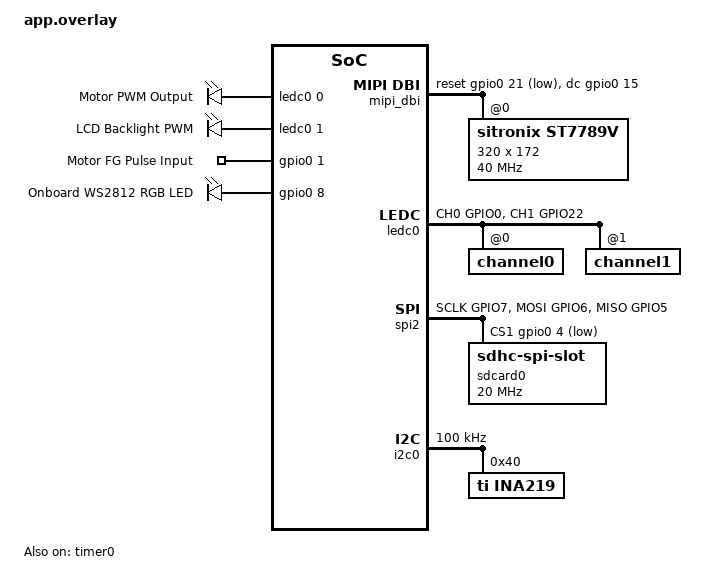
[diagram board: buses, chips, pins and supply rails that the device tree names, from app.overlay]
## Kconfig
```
# Copyright (c) 2026
# SPDX-License-Identifier: Apache-2.0

mainmenu "Waveshare ESP32-C6-LCD-1.47 Application"

menu "Application Wi-Fi Configuration"

config APP_WIFI_SSID
	string "Wi-Fi SSID"
	help
	  SSID of the Wi-Fi network to connect to.

config APP_WIFI_PSK
	string "Wi-Fi Password (PSK)"
	help
	  WPA2/WPA3 pre-shared key (password) of the Wi-Fi network.

config APP_WIFI_CHANNEL
	int "Target Wi-Fi Channel (0 for Auto/Scan)"
	default 0
	range 0 14
	help
	  Target 2.4 GHz Wi-Fi channel (1-14) to connect immediately without
	  scanning all channels. Set to 0 to scan all channels.

config APP_STATIC_IP
	string "Static IPv4 Address (Optional)"
	default ""
	help
	  Optional static IPv4 address (e.g. "192.168.1.250").
	  If empty, DHCPv4 is used automatically.

config APP_STATIC_NETMASK
	string "Static IPv4 Netmask"
	default "255.255.255.0"
	help
	  Subnet mask for static IPv4 configuration.

config APP_STATIC_GW
	string "Static IPv4 Gateway"
	default ""
	help
	  Default gateway IPv4 address (e.g. "192.168.1.1").

endmenu

menu "Sensor and Sampling Configuration"

config APP_SAMPLE_RATE_HZ
	int "Sensor Sampling Rate (Hz)"
	default 10
	range 1 10
	help
	  Target sampling and update frequency for sensor acquisition,
	  SD card logging, and SSE streaming (1 to 10 Hz).

config APP_MOTOR_PULSES_PER_REV
	int "Motor FG Pulses Per Revolution"
	default 6
	help
	  Number of FG pulses generated per complete motor shaft revolution.

config APP_MAX_FG_RPM
	int "Max Motor FG RPM (100% Gauge Scale)"
	default 5500
	help
	  Maximum RPM representing 100% on the LCD display bar and web chart.

config APP_MOTOR_KICK_RESET_MS
	int "Pre-kick 0% PWM reset delay (ms)"
	default 200
	range 0 10000
	help
	  Duration in milliseconds to hold 0% PWM before applying a spin-up or
	  stall-recovery kick, allowing the motor ESC to clear any locked-rotor
	  stall protection latch. Set to 0 to disable the 0% reset delay.

config APP_MOTOR_KICK_PWM_PCT
	int "Spin-up / stall recovery kick PWM (%)"
	default 10
	range 0 100
	help
	  Minimum PWM duty cycle percentage applied during spin-up and
	  stall-recovery kicks until the motor spins.

config APP_DEFAULT_P_HIGH_PCT
	int "Default High Stage Max PWM (%)"
	default 80
	range 0 100
	help
	  Default maximum PWM percentage for the high stage (75-85% recommended).

config APP_CAL_WARMUP_MS
	int "Air Calibration Wait Time Before Recording (ms)"
	default 6500
	range 0 30000
	help
	  Time in milliseconds to wait at each PWM step during air calibration
	  before starting to average RPM and power draw.

config APP_CAL_SETTLE_MS
	int "Air Calibration Settle Time per Step (ms)"
	default 3500
	range 500 30000
	help
	  Time in milliseconds to wait at each PWM step during air calibration
	  before recording RPM and power draw.

config APP_OP_SETTLE_MS
	int "Closed-Loop Operation Settle Time (ms)"
	default 3500
	range 200 30000
	help
	  Time in milliseconds to wait after a PWM change or stage start before
	  evaluating closed-loop RPM/power comparisons.

endmenu

source "Kconfig.zephyr"
```

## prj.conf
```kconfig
# Console & Serial configuration
CONFIG_CONSOLE=y
CONFIG_SERIAL=y
CONFIG_UART_CONSOLE=y
CONFIG_GPIO=y

# Enable floating point format support in printf / snprintf
CONFIG_CBPRINTF_FP_SUPPORT=y

# Networking & Wi-Fi
CONFIG_NETWORKING=y
CONFIG_NET_IPV4=y
CONFIG_NET_IPV6=n
CONFIG_NET_TCP=y
CONFIG_NET_DHCPV4=y
CONFIG_NET_DHCPV4_OPTION_NTP_SERVER=n
CONFIG_WIFI=y
CONFIG_WIFI_ESP32=y
CONFIG_WIFI_STA_AUTO_DHCPV4=n
CONFIG_ESP32_WIFI_STA_POWER_SAVE_NONE=y
CONFIG_NET_MGMT_EVENT_QUEUE_SIZE=16
CONFIG_NET_MGMT_EVENT_QUEUE_TIMEOUT=5000

# BSD / POSIX Sockets for HTTP & SSE Server
CONFIG_NET_SOCKETS=y
CONFIG_NET_MAX_CONN=8
CONFIG_NET_TCP_TIME_WAIT_DELAY=250
CONFIG_ZVFS_POLL_MAX=8
CONFIG_ZVFS_OPEN_MAX=16

# DNS & NTP / SNTP Time Client
CONFIG_DNS_RESOLVER=y
CONFIG_SNTP=y

# SD Card (SPI SDHC) & FatFS File System
CONFIG_DISK_ACCESS=y
CONFIG_DISK_DRIVER_SDMMC=y
CONFIG_FILE_SYSTEM=y
CONFIG_FILE_SYSTEM_MKFS=y
CONFIG_FAT_FILESYSTEM_ELM=y
CONFIG_FS_FATFS_MOUNT_MKFS=y
CONFIG_FS_FATFS_LFN=y
CONFIG_FS_FATFS_LFN_MODE_STACK=y
CONFIG_FS_FATFS_MAX_LFN=64
CONFIG_FS_FATFS_MAX_SS=512
CONFIG_FS_FATFS_REENTRANT=y
CONFIG_FS_FATFS_NUM_FILES=6
CONFIG_FS_FATFS_NUM_DIRS=3

# Hardware Peripherals: PWM, Counter, I2C, INA219
CONFIG_PWM=y
CONFIG_COUNTER=y
CONFIG_I2C=y
CONFIG_SENSOR=y
CONFIG_INA219=y

# Display & SPI for 1.47" ST7789 LCD (172x320)
CONFIG_SPI=y
CONFIG_DISPLAY=y
CONFIG_ST7789V=y
CONFIG_MIPI_DBI=y
CONFIG_MIPI_DBI_SPI=y

# Memory Management & Stacks
CONFIG_HEAP_MEM_POOL_SIZE=98304
CONFIG_NET_PKT_RX_COUNT=20
CONFIG_NET_PKT_TX_COUNT=24
CONFIG_NET_BUF_RX_COUNT=48
CONFIG_NET_BUF_TX_COUNT=64
CONFIG_NET_TX_STACK_SIZE=4096
CONFIG_NET_RX_STACK_SIZE=4096
CONFIG_MAIN_STACK_SIZE=4096

# Sampling & Acquisition
CONFIG_APP_SAMPLE_RATE_HZ=10

# System Reset & Panic Auto-Reboot
CONFIG_REBOOT=y
CONFIG_RESET_ON_FATAL_ERROR=y
```

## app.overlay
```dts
#include <zephyr/dt-bindings/pwm/pwm.h>
#include <zephyr/dt-bindings/pinctrl/esp32c6-pinctrl.h>
#include <zephyr/dt-bindings/i2c/i2c.h>
#include <zephyr/dt-bindings/display/panel.h>
#include <zephyr/dt-bindings/mipi_dbi/mipi_dbi.h>

/ {
	aliases {
		app-timer = &counter0;
		motor-pwm = &pwm_motor;
		fg-pin = &fg_sensor;
		lcd-bl = &lcd_backlight;
		lcd-bl-pwm = &pwm_lcd_bl;
		rgb-led = &rgb_led;
	};

	chosen {
		zephyr,display = &st7789v;
	};

	motor_pwm {
		compatible = "pwm-leds";
		pwm_motor: pwm_motor_0 {
			pwms = <&ledc0 0 PWM_USEC(40) PWM_POLARITY_INVERTED>; /* 25 kHz, Active-Low */
			label = "Motor PWM Output";
		};
		pwm_lcd_bl: pwm_lcd_bl_0 {
			pwms = <&ledc0 1 PWM_USEC(40) PWM_POLARITY_NORMAL>; /* 25 kHz, Active-High */
			label = "LCD Backlight PWM";
		};
	};

	sensor_pins {
		compatible = "gpio-keys";
		fg_sensor: fg_sensor_0 {
			gpios = <&gpio0 1 GPIO_PULL_UP>;
			label = "Motor FG Pulse Input";
		};
	};

	rgb_leds {
		compatible = "gpio-leds";
		rgb_led: rgb_led_0 {
			gpios = <&gpio0 8 GPIO_ACTIVE_HIGH>;
			label = "Onboard WS2812 RGB LED";
		};
	};

	mipi_dbi {
		compatible = "zephyr,mipi-dbi-spi";
		spi-dev = <&spi2>;
		dc-gpios = <&gpio0 15 GPIO_ACTIVE_HIGH>;
		reset-gpios = <&gpio0 21 GPIO_ACTIVE_LOW>;
		write-only;
		#address-cells = <1>;
		#size-cells = <0>;

		st7789v: st7789v@0 {
			compatible = "sitronix,st7789v";
			reg = <0>;
			mipi-max-frequency = <DT_FREQ_M(40)>;
			mipi-mode = "MIPI_DBI_MODE_SPI_4WIRE";
			width = <320>;
			height = <172>;
			x-offset = <0>;
			y-offset = <34>;
			vcom = <0x19>;
			gctrl = <0x35>;
			vrhs = <0x12>;
			vdvs = <0x20>;
			mdac = <0xa0>;
			lcm = <0x2c>;
			pixel-format = <PANEL_PIXEL_FORMAT_RGB_565>;
			gamma = <0x01>;
			porch-param = [0c 0c 00 33 33];
			cmd2en-param = [5a 69 02 01];
			pwctrl1-param = [a4 a1];
			pvgam-param = [d0 04 0d 11 13 2b 3f 54 4c 18 0d 0b 1f 23];
			nvgam-param = [d0 04 0c 11 13 2c 3f 44 51 2f 1f 1f 20 23];
			ram-param = [00 f0];
			rgb-param = [cd 08 14];
		};
	};
};

&gpio0 {
	status = "okay";
};

&timer0 {
	status = "okay";
	counter0: counter {
		status = "okay";
	};
};

&pinctrl {
	ledc0_default: ledc0_default {
		group1 {
			pinmux = <LEDC_CH0_GPIO0>;
			output-enable;
			bias-pull-up;
		};
		group2 {
			pinmux = <LEDC_CH1_GPIO22>;
			output-enable;
		};
	};

	spim2_default: spim2_default {
		group1 {
			pinmux = <SPIM2_SCLK_GPIO7>,
			         <SPIM2_MOSI_GPIO6>;
		};
		group2 {
			pinmux = <SPIM2_MISO_GPIO5>;
			bias-pull-up;
		};
	};

	i2c0_default: i2c0_default {
		group1 {
			pinmux = <I2C0_SDA_GPIO23>,
			         <I2C0_SCL_GPIO20>;
			bias-pull-up;
			drive-open-drain;
			output-high;
		};
	};
};

&ledc0 {
	pinctrl-0 = <&ledc0_default>;
	pinctrl-names = "default";
	#address-cells = <1>;
	#size-cells = <0>;
	status = "okay";

	channel0@0 {
		reg = <0x0>;
		timer = <0>;
	};

	channel1@1 {
		reg = <0x1>;
		timer = <1>;
	};
};

&spi2 {
	#address-cells = <1>;
	#size-cells = <0>;
	status = "okay";
	pinctrl-0 = <&spim2_default>;
	pinctrl-names = "default";
	cs-gpios = <&gpio0 14 GPIO_ACTIVE_LOW>,
	           <&gpio0 4 GPIO_ACTIVE_LOW>;

	sdcard0: sdhc@1 {
		compatible = "zephyr,sdhc-spi-slot";
		reg = <1>;
		status = "okay";
		spi-max-frequency = <DT_FREQ_M(20)>;

		mmc {
			compatible = "zephyr,sdmmc-disk";
			disk-name = "SD";
			status = "okay";
		};
	};
};

&i2c0 {
	status = "okay";
	clock-frequency = <I2C_BITRATE_STANDARD>;
	pinctrl-0 = <&i2c0_default>;
	pinctrl-names = "default";

	ina219: ina219@40 {
		compatible = "ti,ina219";
		reg = <0x40>;
		brng = <1>;
		pg = <3>;
		sadc = <3>;
		badc = <3>;
		shunt-milliohm = <100>;
		lsb-microamp = <100>;
		status = "okay";
	};
};
```

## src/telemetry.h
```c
#ifndef TELEMETRY_H_
#define TELEMETRY_H_

#include <stdint.h>
#include <stdbool.h>

#ifndef STRINGIFY
#define STRINGIFY_HELPER(x) #x
#define STRINGIFY(x)        STRINGIFY_HELPER(x)
#endif

/* Profile Actions */
#define PWM_ACTION_SET_CONFIG_ONLY  0
#define PWM_ACTION_START_PROFILE    1
#define PWM_ACTION_STOP_PROFILE     2
#define PWM_ACTION_MANUAL_PWM       3

/* Profile Stages */
#define PROFILE_STAGE_IDLE          0
#define PROFILE_STAGE_LOW           1
#define PROFILE_STAGE_UP            2
#define PROFILE_STAGE_HIGH          3
#define PROFILE_STAGE_DROP          4

typedef struct __attribute__((packed)) {
	uint32_t sample_id;
	uint32_t motor_rpm;
	int32_t  temp_mc;              /* milli-Celsius (e.g. 42100 = 42.1 C) */
	uint32_t bus_mv;               /* milli-Volts (e.g. 12050 = 12.05 V)  */
	int32_t  current_ma;           /* milli-Amps (signed, e.g. -85 .. 250 mA) */
	int64_t  uptime_ms;
	uint8_t  pwm_pct;              /* current duty cycle 0..100%          */
	uint8_t  profile_stage;        /* PROFILE_STAGE_*                     */
	uint16_t profile_elapsed_sec;  /* which second point is currently at  */
	uint16_t profile_total_sec;    /* total duration of 4 stages in sec   */
	uint8_t  throttle_active;      /* 0=normal, 1=throttling, 2=recovering */
	uint8_t  throttle_drop_pct;    /* active PWM reduction 0..100%        */
	uint16_t throttle_base_rpm;    /* armed baseline RPM (0=unarmed)      */
	int16_t  throttle_base_ma;     /* armed baseline mA                   */
} telemetry_packet_t;

typedef struct {
	uint32_t sample_id;
	uint32_t motor_rpm;
	int32_t  temp_mc;
	uint32_t bus_mv;
	int32_t  current_ma;
	int64_t  uptime_ms;
	uint8_t  pwm_pct;
	uint8_t  profile_stage;
	uint16_t profile_elapsed_sec;
	uint16_t profile_total_sec;
	uint8_t  throttle_active;
	uint8_t  throttle_drop_pct;
	uint16_t throttle_base_rpm;
	int16_t  throttle_base_ma;
	char     iso_time[32];
	char     date_str[16];
} telemetry_full_t;

#ifndef CONFIG_APP_MAX_FG_RPM
#define CONFIG_APP_MAX_FG_RPM 5500
#endif

#ifndef CONFIG_APP_DEFAULT_P_HIGH_PCT
#define CONFIG_APP_DEFAULT_P_HIGH_PCT 80
#endif

#define DEFAULT_PROF_T_LOW   0
#define DEFAULT_PROF_P_LOW   0
#define DEFAULT_PROF_T_UP    0
#define DEFAULT_PROF_T_HIGH  90
#define DEFAULT_PROF_P_HIGH  CONFIG_APP_DEFAULT_P_HIGH_PCT
#define DEFAULT_PROF_T_DROP  0
#define DEFAULT_PROF_TOTAL   (DEFAULT_PROF_T_LOW + DEFAULT_PROF_T_UP + DEFAULT_PROF_T_HIGH + DEFAULT_PROF_T_DROP)

#define APP_MAX_CURRENT_MA   150

typedef struct __attribute__((packed)) {
	uint16_t t_low_sec;
	uint16_t t_up_sec;
	uint16_t t_high_sec;
	uint16_t t_drop_sec;
	uint8_t  p_low_pct;
	uint8_t  p_high_pct;
	uint8_t  action;               /* PWM_ACTION_*                        */
	uint8_t  manual_pwm;           /* 0..100% when action == PWM_ACTION_MANUAL_PWM */
} pwm_profile_ctrl_t;

#define DEFAULT_THROTTLE_ENABLED        1
#define DEFAULT_THROTTLE_MAX_DROP_PCT   60
#define DEFAULT_THROTTLE_SLOPE_PCT_S    5
#define DEFAULT_THROTTLE_RPM_RISE_PCT   10
#define DEFAULT_THROTTLE_CURR_DROP_PCT  15
#define DEFAULT_THROTTLE_COOLDOWN_SEC   8

#define THROTTLE_STATE_NORMAL           0
#define THROTTLE_STATE_ACTIVE           1
#define THROTTLE_STATE_RECOVERING       2

typedef struct __attribute__((packed)) {
	uint8_t  enabled;
	uint8_t  max_drop_pct;
	uint8_t  slope_pct_per_sec;
	uint8_t  rpm_rise_pct;
	uint8_t  curr_drop_pct;
	uint8_t  cooldown_sec;
} pwm_throttle_ctrl_t;

#ifndef CONFIG_APP_CAL_WARMUP_MS
#define CONFIG_APP_CAL_WARMUP_MS 6500
#endif

#ifndef CONFIG_APP_CAL_SETTLE_MS
#define CONFIG_APP_CAL_SETTLE_MS 3500
#endif

#ifndef CONFIG_APP_OP_SETTLE_MS
#define CONFIG_APP_OP_SETTLE_MS 3500
#endif

#define AIR_CAL_MIN_PCT     10
#define AIR_CAL_STEP_PCT    5
#define AIR_CAL_POINTS      19 /* 10%, 15%, 20%, ..., 100% */
#define AIR_CAL_TOTAL_STEPS (AIR_CAL_POINTS + AIR_CAL_POINTS - 1) /* 19 up (10..100) + 18 down (95..10) = 37 steps */

typedef struct {
	uint8_t  pwm_pct;
	uint16_t rpm_up;
	uint32_t power_up;
	uint16_t rpm_down;
	uint32_t power_down;
} air_cal_point_t;

typedef struct {
	bool            valid;
	uint32_t        max_rpm_103_ceil;
	air_cal_point_t pts[AIR_CAL_POINTS];
} air_cal_data_t;

#define DEFAULT_CL_ENABLED          1
#define DEFAULT_CL_TARGET_MAX_PCT   85
#define DEFAULT_CL_LOWER_CLIP_PCT   25
#define DEFAULT_CL_START_PWM_PCT    70
#define DEFAULT_CL_CHECK_UP_SEC     2
#define DEFAULT_CL_CHECK_DOWN_SEC   2
#define DEFAULT_CL_GAIN_UP_PCT      5
#define DEFAULT_CL_GAIN_DOWN_PCT    5
#define DEFAULT_CL_UP_THRESH_PCT    50
#define DEFAULT_CL_DN_THRESH_PCT    25
#define DEFAULT_CL_CAL_RPM_SHIFT    0
#define DEFAULT_CL_CAL_PWR_SHIFT    0
#define DEFAULT_CL_RPM_DROP_PCT     3

typedef struct {
	uint8_t  enabled;          /* 1=closed-loop in HIGH stage, 0=fixed p_high_pct */
	uint8_t  target_max_pct;   /* target max speed as % of max RPM (default 85%) */
	uint8_t  lower_clip_pct;   /* clip PWM to 0% if speed <= this % of max RPM (default 25%) */
	uint8_t  start_pwm_pct;    /* initial test PWM at start of HIGH stage */
	uint8_t  check_up_sec;     /* seconds between speed-up checks */
	uint8_t  check_down_sec;   /* seconds between speed-down checks */
	uint8_t  gain_up_pct;      /* PWM% jump scaling for speed-up */
	uint8_t  gain_down_pct;    /* PWM% jump scaling for speed-down */
	int16_t  up_thresh_pct;    /* % above baseline power (or below RPM) to increase */
	int16_t  dn_thresh_pct;    /* % above baseline power to reduce (hold in between) */
	int8_t   cal_rpm_shift_pct;/* motor degradation RPM shift % */
	int8_t   cal_pwr_shift_pct;/* motor degradation Power shift % */
	uint8_t  rpm_drop_pct;     /* RPM must be this % below air baseline to count as water */
} closed_loop_ctrl_t;

#endif /* TELEMETRY_H_ */
```
